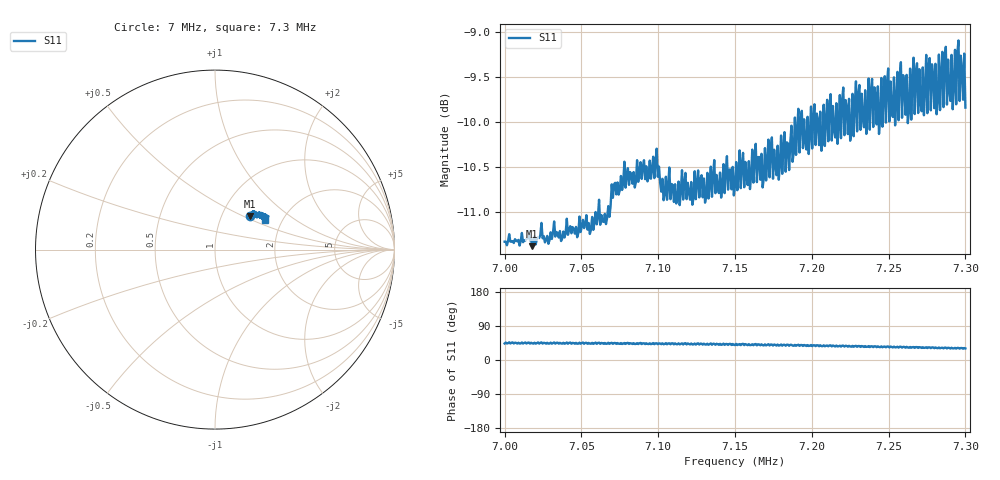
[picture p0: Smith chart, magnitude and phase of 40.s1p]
# Hz S RI R 50
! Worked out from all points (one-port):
!   401 points, 7 MHz to 7.3 MHz, reference 50 ohm
!   lowest |S11| = -11.4 dB at 7.018 MHz (marker M1), VSWR 1.74, Z = 67.7 + j27.4 ohm
!   |S11| at or under -10 dB: start of sweep to 7.1889 MHz; 7.189092 MHz to 7.190785 MHz (1.693 kHz wide, 0.0235 % of centre); 7.195093 MHz to 7.197128 MHz (2.035 kHz wide, 0.0283 % of centre)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
7000000  0.1967 0.1872
7018000  0.1942 0.1876
7037500  0.1992 0.1863
7065250  0.1989 0.199
7075000  0.2135 0.1962
7097500  0.2199 0.1958
7102750  0.2113 0.2047
7112500  0.2149 0.1893
7150000  0.2248 0.1855
7172500  0.2316 0.1824
7177750  0.2323 0.2005
7187500  0.2368 0.1852
7207750  0.2518 0.2028
7210750  0.2495 0.1817
7216000  0.2548 0.2
7221250  0.2537 0.1799
7225000  0.2507 0.1804
7229500  0.2566 0.1784
7245250  0.2707 0.1965
7248250  0.2635 0.1746
7262500  0.2646 0.1723
7267000  0.2709 0.1694
7272250  0.282 0.1883
7282750  0.2892 0.1874
7285750  0.2769 0.1649
7291000  0.2911 0.1842
7296250  0.2811 0.1627
7300000  0.2773 0.1638
